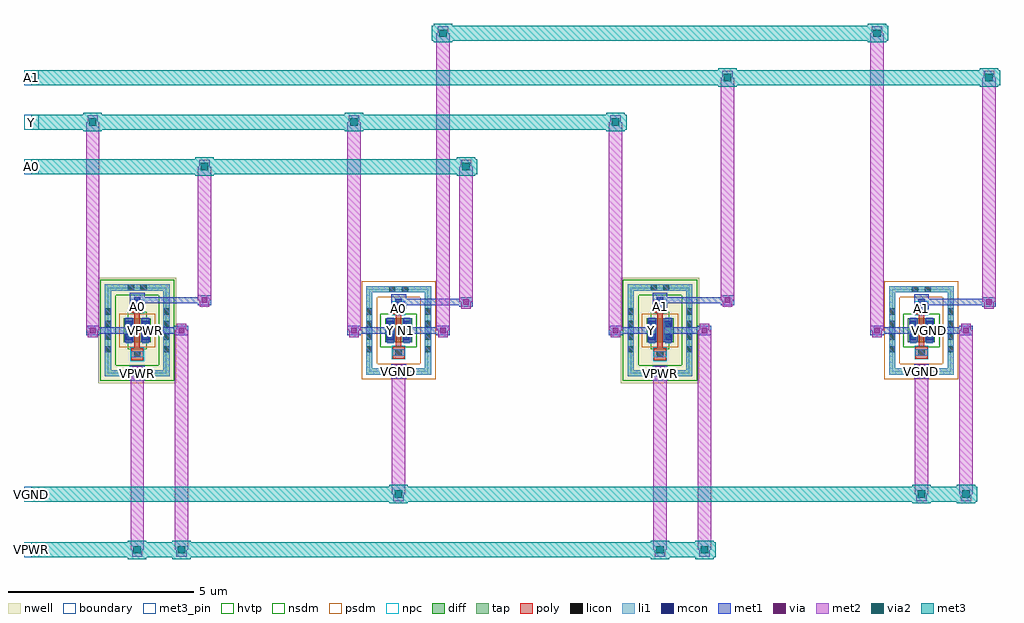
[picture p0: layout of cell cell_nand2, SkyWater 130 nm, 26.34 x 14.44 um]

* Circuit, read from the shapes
.subckt cell_nand2 A0 A1 N1 VGND VPWR Y
XM1 N1 A0 Y VGND sky130_fd_pr__nfet_01v8 w=0.65 l=0.15
XM2 VGND A1 N1 VGND sky130_fd_pr__nfet_01v8 w=0.65 l=0.15
XM3 VPWR A0 Y VPWR sky130_fd_pr__pfet_01v8_hvt w=0.65 l=0.15
XM4 VPWR A1 Y VPWR sky130_fd_pr__pfet_01v8_hvt w=0.65 l=0.15
.ends

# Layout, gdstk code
import gdstk
lib = gdstk.Library(unit=1e-6, precision=1e-09)
def R(c, l, rs):  # rectangles x0, y0, x1, y1
    for r in rs: c.add(gdstk.rectangle(r[:2], r[2:], *l))
def A(c, l, x, y, w, h, nx, ny, dx, dy):  # array of equal rectangles
    R(c, l, [(x+i*dx, y+j*dy, x+i*dx+w, y+j*dy+h) for i in range(nx) for j in range(ny)])
nwell = (64, 20)
diff = (65, 20)
tap = (65, 44)
poly = (66, 20)
licon = (66, 44)
li1 = (67, 20)
mcon = (67, 44)
met1 = (68, 20)
via = (68, 44)
met2 = (69, 20)
via2 = (69, 44)
met3_pin = (70, 16)
met3 = (70, 20)
hvtp = (78, 44)
nsdm = (93, 44)
psdm = (94, 20)
npc = (95, 20)
boundary = (235, 4)

cell_nand2 = lib.new_cell('cell_nand2')
R(cell_nand2, nwell, [(0,-1.42,2.11,1.42), (14.11,-1.42,16.22,1.42)])
A(cell_nand2, diff, 0.69, -0.325, 0.73, 0.65, 4, 1, 7.055, 0)
R(cell_nand2, tap, [(0.18,-1.24,1.93,-1.07), (14.29,-1.24,16.04,-1.07), (7.235,-1.195,8.985,-1.025), (21.345,-1.195,23.095,-1.025), (0.18,-1.07,0.35,1.07), (1.76,-1.07,1.93,1.07), (14.29,-1.07,14.46,1.07), (15.87,-1.07,16.04,1.07), (7.235,-1.025,7.405,1.025), (8.815,-1.025,8.985,1.025), (21.345,-1.025,21.515,1.025), (22.925,-1.025,23.095,1.025), (7.235,1.025,8.985,1.195), (21.345,1.025,23.095,1.195), (0.18,1.07,1.93,1.24), (14.29,1.07,16.04,1.24)])
R(cell_nand2, poly, [(0.89,-0.81,1.22,-0.48), (15,-0.81,15.33,-0.48), (7.945,-0.765,8.275,-0.435), (22.055,-0.765,22.385,-0.435), (0.98,-0.48,1.13,0.48), (15.09,-0.48,15.24,0.48), (8.035,-0.435,8.185,0.435), (22.145,-0.435,22.295,0.435), (7.945,0.435,8.275,0.765), (22.055,0.435,22.385,0.765), (0.89,0.48,1.22,0.81), (15,0.48,15.33,0.81)])
A(cell_nand2, licon, 0.18, -0.595, 0.17, 0.17, 1, 4, 0, 0.34)
A(cell_nand2, licon, 1.76, -0.595, 0.17, 0.17, 1, 4, 0, 0.34)
A(cell_nand2, licon, 7.235, -0.595, 0.17, 0.17, 1, 4, 0, 0.34)
A(cell_nand2, licon, 8.815, -0.595, 0.17, 0.17, 1, 4, 0, 0.34)
A(cell_nand2, licon, 14.29, -0.595, 0.17, 0.17, 1, 4, 0, 0.34)
A(cell_nand2, licon, 15.87, -0.595, 0.17, 0.17, 1, 4, 0, 0.34)
A(cell_nand2, licon, 21.345, -0.595, 0.17, 0.17, 1, 4, 0, 0.34)
A(cell_nand2, licon, 22.925, -0.595, 0.17, 0.17, 1, 4, 0, 0.34)
R(cell_nand2, licon, [(0.8,-1.24,0.97,-1.07), (1.14,-1.24,1.31,-1.07), (14.91,-1.24,15.08,-1.07), (15.25,-1.24,15.42,-1.07), (7.855,-1.195,8.025,-1.025), (8.195,-1.195,8.365,-1.025), (21.965,-1.195,22.135,-1.025), (22.305,-1.195,22.475,-1.025), (0.97,-0.73,1.14,-0.56), (15.08,-0.73,15.25,-0.56), (8.025,-0.685,8.195,-0.515), (22.135,-0.685,22.305,-0.515), (0.75,-0.255,0.92,-0.085), (1.19,-0.255,1.36,-0.085), (7.805,-0.255,7.975,-0.085), (8.245,-0.255,8.415,-0.085), (14.86,-0.255,15.03,-0.085), (15.3,-0.255,15.47,-0.085), (21.915,-0.255,22.085,-0.085), (22.355,-0.255,22.525,-0.085), (0.75,0.085,0.92,0.255), (1.19,0.085,1.36,0.255), (7.805,0.085,7.975,0.255), (8.245,0.085,8.415,0.255), (14.86,0.085,15.03,0.255), (15.3,0.085,15.47,0.255), (21.915,0.085,22.085,0.255), (22.355,0.085,22.525,0.255), (8.025,0.515,8.195,0.685), (22.135,0.515,22.305,0.685), (0.97,0.56,1.14,0.73), (15.08,0.56,15.25,0.73), (7.855,1.025,8.025,1.195), (8.195,1.025,8.365,1.195), (21.965,1.025,22.135,1.195), (22.305,1.025,22.475,1.195), (0.8,1.07,0.97,1.24), (1.14,1.07,1.31,1.24), (14.91,1.07,15.08,1.24), (15.25,1.07,15.42,1.24)])
R(cell_nand2, li1, [(0.18,-1.24,1.93,-1.07), (14.29,-1.24,16.04,-1.07), (7.235,-1.195,8.985,-1.025), (21.345,-1.195,23.095,-1.025), (0.18,-1.07,0.35,1.07), (1.76,-1.07,1.93,1.07), (14.29,-1.07,14.46,1.07), (15.87,-1.07,16.04,1.07), (7.235,-1.025,7.405,1.025), (8.815,-1.025,8.985,1.025), (21.345,-1.025,21.515,1.025), (22.925,-1.025,23.095,1.025), (0.89,-0.73,1.22,-0.56), (15,-0.73,15.33,-0.56), (7.945,-0.685,8.275,-0.515), (22.055,-0.685,22.385,-0.515), (0.75,-0.345,0.92,0.345), (1.19,-0.345,1.36,0.345), (7.805,-0.345,7.975,0.345), (8.245,-0.345,8.415,0.345), (14.86,-0.345,15.03,0.345), (15.3,-0.345,15.47,0.345), (21.915,-0.345,22.085,0.345), (22.355,-0.345,22.525,0.345), (7.945,0.515,8.275,0.685), (8.025,0.515,8.195,0.855), (22.055,0.515,22.385,0.685), (22.135,0.515,22.305,0.855), (0.89,0.56,1.22,0.73), (0.97,0.56,1.14,0.9), (15,0.56,15.33,0.73), (15.08,0.56,15.25,0.9), (7.235,1.025,8.985,1.195), (21.345,1.025,23.095,1.195), (0.18,1.07,1.93,1.24), (14.29,1.07,16.04,1.24)])
R(cell_nand2, mcon, [(0.97,-1.24,1.14,-1.07), (15.08,-1.24,15.25,-1.07), (8.025,-1.195,8.195,-1.025), (22.135,-1.195,22.305,-1.025), (0.75,-0.265,0.92,-0.095), (1.19,-0.265,1.36,-0.095), (7.805,-0.265,7.975,-0.095), (8.245,-0.265,8.415,-0.095), (14.86,-0.265,15.03,-0.095), (15.3,-0.265,15.47,-0.095), (21.915,-0.265,22.085,-0.095), (22.355,-0.265,22.525,-0.095), (0.75,0.095,0.92,0.265), (1.19,0.095,1.36,0.265), (7.805,0.095,7.975,0.265), (8.245,0.095,8.415,0.265), (14.86,0.095,15.03,0.265), (15.3,0.095,15.47,0.265), (21.915,0.095,22.085,0.265), (22.355,0.095,22.525,0.265), (8.025,0.685,8.195,0.855), (22.135,0.685,22.305,0.855), (0.97,0.73,1.14,0.9), (15.08,0.73,15.25,0.9)])
R(cell_nand2, met1, [(0.855,-1.355,1.255,-0.955), (14.965,-1.355,15.365,-0.955), (7.91,-1.31,8.31,-0.91), (22.02,-1.31,22.42,-0.91), (0.875,-1.285,1.235,-1.025), (14.985,-1.285,15.345,-1.025), (7.93,-1.24,8.29,-0.98), (22.04,-1.24,22.4,-0.98), (0.72,-0.325,0.95,0.325), (1.16,-0.325,1.39,0.325), (7.775,-0.325,8.005,0.325), (8.215,-0.325,8.445,0.325), (14.83,-0.325,15.06,0.325), (15.27,-0.325,15.5,0.325), (21.885,-0.325,22.115,0.325), (22.325,-0.325,22.555,0.325), (-0.325,-0.13,0.035,0.13), (2.075,-0.13,2.435,0.13), (6.73,-0.13,7.09,0.13), (9.13,-0.13,9.49,0.13), (13.785,-0.13,14.145,0.13), (16.185,-0.13,16.545,0.13), (20.84,-0.13,21.2,0.13), (23.24,-0.13,23.6,0.13), (7.91,0.57,8.31,0.97), (22.02,0.57,22.42,0.97), (0.855,0.615,1.255,1.015), (14.965,0.615,15.365,1.015), (9.75,0.64,10.11,0.9), (23.86,0.64,24.22,0.9), (2.695,0.685,3.055,0.945), (16.805,0.685,17.165,0.945)])
R(cell_nand2, via, [(0.98,-1.23,1.13,-1.08), (15.09,-1.23,15.24,-1.08), (8.035,-1.185,8.185,-1.035), (22.145,-1.185,22.295,-1.035), (-0.22,-0.075,-0.07,0.075), (2.18,-0.075,2.33,0.075), (6.835,-0.075,6.985,0.075), (9.235,-0.075,9.385,0.075), (13.89,-0.075,14.04,0.075), (16.29,-0.075,16.44,0.075), (20.945,-0.075,21.095,0.075), (23.345,-0.075,23.495,0.075), (9.855,0.695,10.005,0.845), (23.965,0.695,24.115,0.845), (2.8,0.74,2.95,0.89), (16.91,0.74,17.06,0.89)])
A(cell_nand2, met2, -0.285, 5.43, 0.28, 0.38, 3, 1, 7.055, 0)
R(cell_nand2, met2, [(0.915,-6.11,1.195,-5.73), (2.115,-6.11,2.395,-5.73), (15.025,-6.11,15.305,-5.73), (16.225,-6.11,16.505,-5.73), (7.97,-4.61,8.25,-4.23), (22.08,-4.61,22.36,-4.23), (23.28,-4.61,23.56,-4.23), (0.925,-1.335,1.185,-0.975), (15.035,-1.335,15.295,-0.975), (7.98,-1.29,8.24,-0.93), (22.09,-1.29,22.35,-0.93), (-0.275,-0.18,-0.015,0.18), (2.125,-0.18,2.385,0.18), (6.78,-0.18,7.04,0.18), (9.18,-0.18,9.44,0.18), (13.835,-0.18,14.095,0.18), (16.235,-0.18,16.495,0.18), (20.89,-0.18,21.15,0.18), (23.29,-0.18,23.55,0.18), (9.8,0.59,10.06,0.95), (23.91,0.59,24.17,0.95), (2.745,0.635,3.005,0.995), (16.855,0.635,17.115,0.995), (2.735,4.23,3.015,4.61), (9.79,4.23,10.07,4.61), (16.845,6.63,17.125,7.01), (23.9,6.63,24.18,7.01), (9.17,7.83,9.45,8.21), (20.88,7.83,21.16,8.21)])
A(cell_nand2, via2, -0.245, 5.52, 0.2, 0.2, 3, 1, 7.055, 0)
R(cell_nand2, via2, [(0.955,-6.02,1.155,-5.82), (2.155,-6.02,2.355,-5.82), (15.065,-6.02,15.265,-5.82), (16.265,-6.02,16.465,-5.82), (8.01,-4.52,8.21,-4.32), (22.12,-4.52,22.32,-4.32), (23.32,-4.52,23.52,-4.32), (2.775,4.32,2.975,4.52), (9.83,4.32,10.03,4.52), (16.885,6.72,17.085,6.92), (23.94,6.72,24.14,6.92), (9.21,7.92,9.41,8.12), (20.92,7.92,21.12,8.12)])
A(cell_nand2, met3_pin, -2, 4.22, 0.4, 0.4, 1, 3, 0, 1.2)
R(cell_nand2, met3_pin, [(-2,-6.12,-1.6,-5.72), (-2,-4.62,-1.6,-4.22)])
A(cell_nand2, met3, -0.395, 5.37, 0.5, 0.5, 3, 1, 7.055, 0)
R(cell_nand2, met3, [(0.805,-6.17,1.305,-5.67), (2.005,-6.17,2.505,-5.67), (14.915,-6.17,15.415,-5.67), (16.115,-6.17,16.615,-5.67), (7.86,-4.67,8.36,-4.17), (21.97,-4.67,22.47,-4.17), (23.17,-4.67,23.67,-4.17), (2.625,4.17,3.125,4.67), (9.68,4.17,10.18,4.67), (16.735,6.57,17.235,7.07), (23.79,6.57,24.29,7.07), (9.06,7.77,9.56,8.27), (20.77,7.77,21.27,8.27)])
R(cell_nand2, hvtp, [(0.8,-0.505,1.31,0.505), (14.91,-0.505,15.42,0.505)])
R(cell_nand2, nsdm, [(0.055,-1.365,2.055,-0.945), (14.165,-1.365,16.165,-0.945), (0.055,-0.945,0.475,0.945), (1.635,-0.945,2.055,0.945), (14.165,-0.945,14.585,0.945), (15.745,-0.945,16.165,0.945), (7.62,-0.45,8.6,0.45), (21.73,-0.45,22.71,0.45), (0.055,0.945,2.055,1.365), (14.165,0.945,16.165,1.365)])
R(cell_nand2, psdm, [(7.11,-1.32,9.11,-0.9), (21.22,-1.32,23.22,-0.9), (7.11,-0.9,7.53,0.9), (8.69,-0.9,9.11,0.9), (21.22,-0.9,21.64,0.9), (22.8,-0.9,23.22,0.9), (0.565,-0.45,1.545,0.45), (14.675,-0.45,15.655,0.45), (7.11,0.9,9.11,1.32), (21.22,0.9,23.22,1.32)])
R(cell_nand2, npc, [(0.87,-0.83,1.24,-0.46), (14.98,-0.83,15.35,-0.46), (7.925,-0.785,8.295,-0.415), (22.035,-0.785,22.405,-0.415), (7.925,0.415,8.295,0.785), (22.035,0.415,22.405,0.785), (0.87,0.46,1.24,0.83), (14.98,0.46,15.35,0.83)])
R(cell_nand2, boundary, [(0.265,-1.155,1.845,1.155), (14.375,-1.155,15.955,1.155), (7.32,-1.11,8.9,1.11), (21.43,-1.11,23.01,1.11)])
cell_nand2.add(gdstk.FlexPath([(22,0),(21.02,0)], 0.17, ends="flush", simple_path=True, layer=68, datatype=20))  # met1
cell_nand2.add(gdstk.FlexPath([(22.44,0),(23.42,0)], 0.17, ends="flush", simple_path=True, layer=68, datatype=20))  # met1
cell_nand2.add(gdstk.FlexPath([(15.165,-1.155),(15.165,-1.155)], 0.17, ends="flush", simple_path=True, layer=68, datatype=20))  # met1
cell_nand2.add(gdstk.FlexPath([(22.22,-1.11),(22.22,-1.11)], 0.17, ends="flush", simple_path=True, layer=68, datatype=20))  # met1
cell_nand2.add(gdstk.FlexPath([(22.22,0.77),(24.04,0.77)], 0.17, ends="flush", simple_path=True, layer=68, datatype=20))  # met1
cell_nand2.add(gdstk.FlexPath([(15.165,0.815),(16.985,0.815)], 0.17, ends="flush", simple_path=True, layer=68, datatype=20))  # met1
cell_nand2.add(gdstk.FlexPath([(8.11,-1.11),(8.11,-1.11)], 0.17, ends="flush", simple_path=True, layer=68, datatype=20))  # met1
cell_nand2.add(gdstk.FlexPath([(1.275,0),(2.255,0)], 0.17, ends="flush", simple_path=True, layer=68, datatype=20))  # met1
cell_nand2.add(gdstk.FlexPath([(15.385,0),(16.365,0)], 0.17, ends="flush", simple_path=True, layer=68, datatype=20))  # met1
cell_nand2.add(gdstk.FlexPath([(0.835,0),(-0.145,0)], 0.17, ends="flush", simple_path=True, layer=68, datatype=20))  # met1
cell_nand2.add(gdstk.FlexPath([(7.89,0),(6.91,0)], 0.17, ends="flush", simple_path=True, layer=68, datatype=20))  # met1
cell_nand2.add(gdstk.FlexPath([(8.33,0),(9.31,0)], 0.17, ends="flush", simple_path=True, layer=68, datatype=20))  # met1
cell_nand2.add(gdstk.FlexPath([(1.055,-1.155),(1.055,-1.155)], 0.17, ends="flush", simple_path=True, layer=68, datatype=20))  # met1
cell_nand2.add(gdstk.FlexPath([(1.055,0.815),(2.875,0.815)], 0.17, ends="flush", simple_path=True, layer=68, datatype=20))  # met1
cell_nand2.add(gdstk.FlexPath([(8.11,0.77),(9.93,0.77)], 0.17, ends="flush", simple_path=True, layer=68, datatype=20))  # met1
cell_nand2.add(gdstk.FlexPath([(14.945,0),(13.965,0)], 0.17, ends="flush", simple_path=True, layer=68, datatype=20))  # met1
cell_nand2.add(gdstk.FlexPath([(21.02,0),(21.02,8.02)], 0.36, ends="flush", simple_path=True, layer=69, datatype=20))  # met2
cell_nand2.add(gdstk.FlexPath([(15.165,-1.155),(15.165,-5.92)], 0.36, ends="flush", simple_path=True, layer=69, datatype=20))  # met2
cell_nand2.add(gdstk.FlexPath([(13.965,0),(13.965,5.62)], 0.36, ends="flush", simple_path=True, layer=69, datatype=20))  # met2
cell_nand2.add(gdstk.FlexPath([(22.22,-1.11),(22.22,-4.42)], 0.36, ends="flush", simple_path=True, layer=69, datatype=20))  # met2
cell_nand2.add(gdstk.FlexPath([(24.04,0.77),(24.04,6.82)], 0.36, ends="flush", simple_path=True, layer=69, datatype=20))  # met2
cell_nand2.add(gdstk.FlexPath([(-0.145,0),(-0.145,5.62)], 0.36, ends="flush", simple_path=True, layer=69, datatype=20))  # met2
cell_nand2.add(gdstk.FlexPath([(16.365,0),(16.365,-5.92)], 0.36, ends="flush", simple_path=True, layer=69, datatype=20))  # met2
cell_nand2.add(gdstk.FlexPath([(2.875,0.815),(2.875,4.42)], 0.36, ends="flush", simple_path=True, layer=69, datatype=20))  # met2
cell_nand2.add(gdstk.FlexPath([(2.255,0),(2.255,-5.92)], 0.36, ends="flush", simple_path=True, layer=69, datatype=20))  # met2
cell_nand2.add(gdstk.FlexPath([(1.055,-1.155),(1.055,-5.92)], 0.36, ends="flush", simple_path=True, layer=69, datatype=20))  # met2
cell_nand2.add(gdstk.FlexPath([(8.11,-1.11),(8.11,-4.42)], 0.36, ends="flush", simple_path=True, layer=69, datatype=20))  # met2
cell_nand2.add(gdstk.FlexPath([(23.42,0),(23.42,-4.42)], 0.36, ends="flush", simple_path=True, layer=69, datatype=20))  # met2
cell_nand2.add(gdstk.FlexPath([(6.91,0),(6.91,5.62)], 0.36, ends="flush", simple_path=True, layer=69, datatype=20))  # met2
cell_nand2.add(gdstk.FlexPath([(16.985,0.815),(16.985,6.82)], 0.36, ends="flush", simple_path=True, layer=69, datatype=20))  # met2
cell_nand2.add(gdstk.FlexPath([(9.93,0.77),(9.93,4.42)], 0.36, ends="flush", simple_path=True, layer=69, datatype=20))  # met2
cell_nand2.add(gdstk.FlexPath([(9.31,0),(9.31,8.02)], 0.36, ends="flush", simple_path=True, layer=69, datatype=20))  # met2
cell_nand2.add(gdstk.FlexPath([(-1.8,4.42),(10.23,4.42)], 0.4, ends="flush", simple_path=True, layer=70, datatype=20))  # met3
cell_nand2.add(gdstk.FlexPath([(-1.8,5.62),(14.265,5.62)], 0.4, ends="flush", simple_path=True, layer=70, datatype=20))  # met3
cell_nand2.add(gdstk.FlexPath([(-1.8,6.82),(24.34,6.82)], 0.4, ends="flush", simple_path=True, layer=70, datatype=20))  # met3
cell_nand2.add(gdstk.FlexPath([(9.01,8.02),(21.32,8.02)], 0.4, ends="flush", simple_path=True, layer=70, datatype=20))  # met3
cell_nand2.add(gdstk.FlexPath([(-1.8,-4.42),(23.72,-4.42)], 0.4, ends="flush", simple_path=True, layer=70, datatype=20))  # met3
cell_nand2.add(gdstk.FlexPath([(-1.8,-5.92),(16.665,-5.92)], 0.4, ends="flush", simple_path=True, layer=70, datatype=20))  # met3
cell_nand2.add(gdstk.Label('Y', (14.945,0), layer=67, texttype=5))
cell_nand2.add(gdstk.Label('A0', (1.055,0.645), layer=67, texttype=5))
cell_nand2.add(gdstk.Label('A1', (22.22,0.6), layer=67, texttype=5))
cell_nand2.add(gdstk.Label('VPWR', (1.055,-1.155), layer=67, texttype=5))
cell_nand2.add(gdstk.Label('VPWR', (1.275,0), layer=67, texttype=5))
cell_nand2.add(gdstk.Label('VGND', (22.44,0), layer=67, texttype=5))
cell_nand2.add(gdstk.Label('Y', (0.835,0), layer=67, texttype=5))
cell_nand2.add(gdstk.Label('VGND', (8.11,-1.11), layer=67, texttype=5))
cell_nand2.add(gdstk.Label('Y', (7.89,0), layer=67, texttype=5))
cell_nand2.add(gdstk.Label('N1', (8.33,0), layer=67, texttype=5))
cell_nand2.add(gdstk.Label('VPWR', (15.385,0), layer=67, texttype=5))
cell_nand2.add(gdstk.Label('A1', (15.165,0.645), layer=67, texttype=5))
cell_nand2.add(gdstk.Label('A0', (8.11,0.6), layer=67, texttype=5))
cell_nand2.add(gdstk.Label('VGND', (22.22,-1.11), layer=67, texttype=5))
cell_nand2.add(gdstk.Label('N1', (22,0), layer=67, texttype=5))
cell_nand2.add(gdstk.Label('VPWR', (15.165,-1.155), layer=67, texttype=5))
cell_nand2.add(gdstk.Label('A0', (-1.8,4.42), layer=70, texttype=5))
cell_nand2.add(gdstk.Label('Y', (-1.8,5.62), layer=70, texttype=5))
cell_nand2.add(gdstk.Label('A1', (-1.8,6.82), layer=70, texttype=5))
cell_nand2.add(gdstk.Label('VGND', (-1.8,-4.42), layer=70, texttype=5))
cell_nand2.add(gdstk.Label('VPWR', (-1.8,-5.92), layer=70, texttype=5))

lib.write_gds('cell_nand2.gds')
